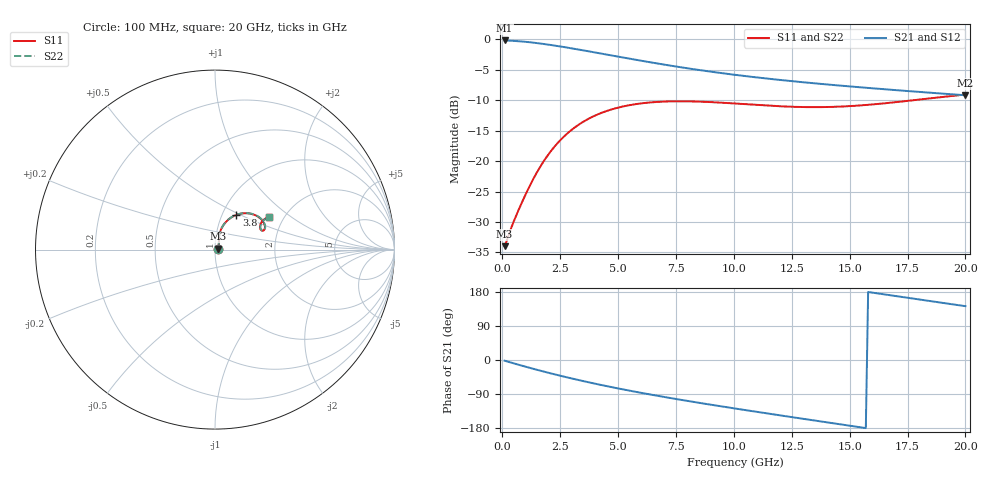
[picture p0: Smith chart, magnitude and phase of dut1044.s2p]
! Touchstone file exported from HFSS 2024.1.0
!  File:  C:/UserFiles/LocalFiles/RDL_TSV_Batchsim/temp_RDL_TSV_1044_1780086501.aedt
!  Generated:  04:43:07 AM May 30, 2026
!  Design:  RDL_TSV
!  Project:  temp_RDL_TSV_1044_1780086501
!  Setup:  Setup1
!  Solution:  Sweep
! Variables:
!  dtsv = 10.76um
!  hbump = 3um
!  htsv = 50.78um
!  ldown = 452.35um
!  lrdl = 522.14um
!  p = 40
!  p1 = 45.91um
!  rhole = 10um
!  subl = 3445.61um
!  t = 450um
!  tdown = 2.52um
!  trdl = 4.26um
!  viad = 10um
!  wdown = 22.14um
!  wrdl = 16.82um
!  xbump = 18um
# GHz S MA R 50.000000
! Terminal data exported
! Port[1] = TM1_1_T1
! Port[2] = TM1_4_T1
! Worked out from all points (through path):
!   200 points, 100 MHz to 20 GHz, reference 50 ohm
!   highest |S21| = -0.17 dB at 100 MHz (marker M1); lowest = -9.2 dB at 20 GHz (marker M2)
!   group delay of S21, straight-line fit = 28.7 ps
!   lowest |S11| = -34.0 dB at 100 MHz (marker M3), VSWR 1.04, Z = 52 + j0.562 ohm
!   |S11| at or under -10 dB: start of sweep to 17.74 GHz
!   |S22| runs from -34.0 to -9.0 dB; largest |S21 - S12| = 9.3e-15
!   S11 on the Smith chart (normalised r, x): 100 MHz: 1.04, +0.01; 3.8 GHz: 1.17, +0.47; 20 GHz: 1.68, +0.70
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0.1  0.02001 15.7  0.9805 -1.8  0.9805 -1.8  0.02001 15.7
! Gamma 0 0 0 0
! Port Impedance 50 0 50 0
0.5  0.03216 48.9  0.9725 -9.0  0.9725 -9.0  0.03215 48.9
0.9  0.04816 64.1  0.9598 -15.9  0.9598 -15.9  0.04816 64.2
1.3  0.06911 71.6  0.9428 -22.6  0.9428 -22.6  0.06914 71.7
1.7  0.09398 73.9  0.9224 -29.1  0.9224 -29.1  0.09406 74.0
2.1  0.1209 73.1  0.8997 -35.4  0.8997 -35.4  0.1211 73.2
2.5  0.1483 70.6  0.8756 -41.5  0.8756 -41.5  0.1485 70.7
3  0.1811 66.3  0.8444 -48.8  0.8444 -48.8  0.1814 66.4
3.5  0.2108 61.4  0.8129 -55.7  0.8129 -55.7  0.2112 61.5
3.8  0.2267 58.4  0.7941 -59.8  0.7941 -59.8  0.2272 58.5
4.4  0.254 52.6  0.7574 -67.6  0.7574 -67.6  0.2546 52.7
5.1  0.2781 46.3  0.7165 -76.2  0.7165 -76.2  0.2789 46.4
5.9  0.2965 39.9  0.6731 -85.6  0.6731 -85.6  0.2974 40.0
6.8  0.3073 33.9  0.6293 -95.5  0.6293 -95.5  0.3085 34.0
8.4  0.3088 26.2  0.5641 -112.0  0.5641 -112.0  0.3102 26.3
10.1  0.297 22.1  0.5103 -128.5  0.5103 -128.5  0.2986 22.1
11.7  0.2841 21.7  0.4708 -143.4  0.4708 -143.4  0.2859 21.6
13.4  0.2776 24.1  0.4372 -158.9  0.4372 -158.9  0.2793 24.0
15  0.2831 27.6  0.411 -173.4  0.411 -173.4  0.2846 27.3
16.7  0.301 30.5  0.3869 171.3  0.3869 171.3  0.3022 30.2
18.4  0.3267 31.6  0.3656 156.2  0.3656 156.2  0.3275 31.3
20  0.3523 31.0  0.3477 142.1  0.3477 142.1  0.3528 30.7
